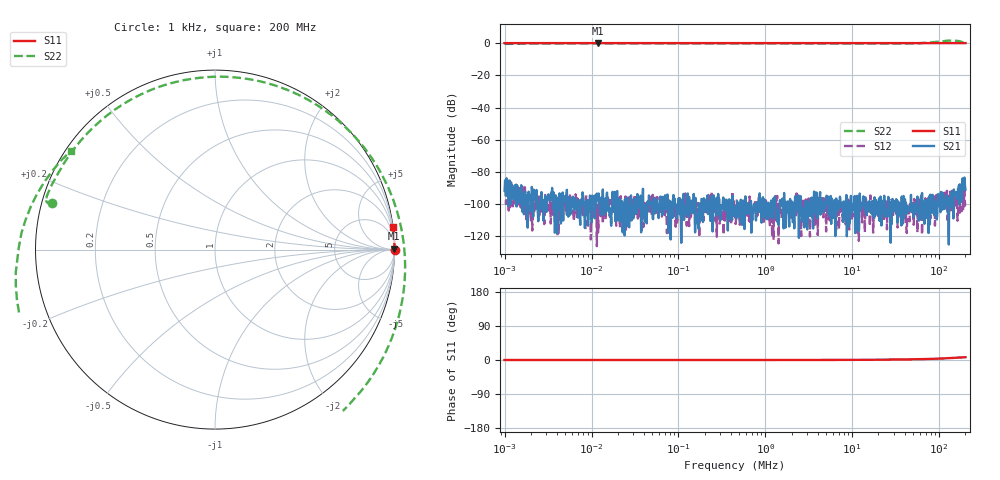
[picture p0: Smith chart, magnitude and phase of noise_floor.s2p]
! ListType=Log
# MHZ S RI R 50
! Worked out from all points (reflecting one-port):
!   1000 points, 1 kHz to 200 MHz, reference 50 ohm
!   lowest |S11| = 0.0 dB at 11.95 kHz (marker M1), VSWR 746.93, Z = 9.46e+03 + j1.62e+04 ohm
!   phase of S11 starts at -0 deg and turns +7 deg over the sweep
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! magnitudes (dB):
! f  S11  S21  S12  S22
! 1 kHz  0.0  -91.6  -89.9  -0.5
! 3.393 kHz  0.0  -97.2  -112.0  -0.2
! 7.694 kHz  0.0  -96.6  -101.3  -0.2
! 11.95 kHz  0.0  -95.5  -117.4  -0.1
! 58.48 kHz  0.0  -103.5  -102.4  -0.1
! 450 kHz  0.0  -107.7  -102.7  -0.2
! 3.42 MHz  0.0  -95.9  -102.6  -0.2
! 26.31 MHz  0.0  -103.9  -106.0  -0.4
! 42.9 MHz  0.0  -104.6  -104.7  -0.3
! 52.16 MHz  0.0  -103.6  -99.1  -0.1
! 61.89 MHz  0.0  -94.7  -105.1  0.0
! 70.79 MHz  0.0  -108.5  -101.4  0.2
! 80.98 MHz  0.0  -104.6  -97.6  0.5
! 122.7 MHz  0.0  -95.8  -91.7  1.5
! 133.6 MHz  0.0  -98.0  -92.2  1.6
! 140.3 MHz  0.0  -95.8  -94.9  1.6
! 152.9 MHz  0.0  -92.7  -100.6  1.6
! 158.6 MHz  0.0  -92.5  -96.4  1.5
! 166.5 MHz  0.0  -91.4  -98.2  1.3
! 177 MHz  0.0  -90.0  -92.3  1.0
! 192.8 MHz  0.0  -91.2  -97.2  0.2
! 200 MHz  0.0  -91.1  -96.8  -0.2
